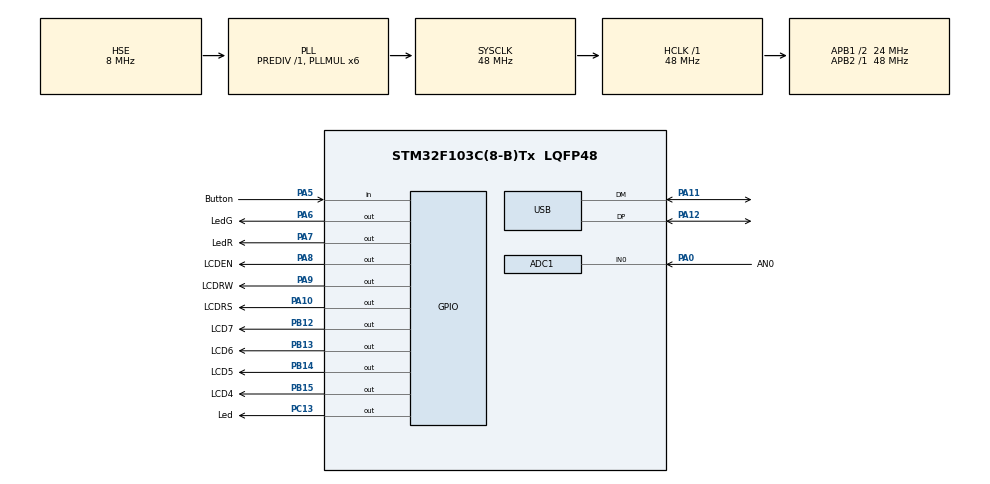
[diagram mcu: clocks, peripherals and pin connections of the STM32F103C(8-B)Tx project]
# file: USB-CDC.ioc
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ADC1.Channel-0\#ChannelRegularConversion=ADC_CHANNEL_0
ADC1.NbrOfConversionFlag=1
ADC1.Rank-0\#ChannelRegularConversion=1
ADC1.SamplingTime-0\#ChannelRegularConversion=ADC_SAMPLETIME_1CYCLE_5
ADC1.master=1
Mcu.Family=STM32F1
Mcu.Name=STM32F103C(8-B)Tx
Mcu.Package=LQFP48
NVIC.PriorityGroup=NVIC_PRIORITYGROUP_4
NVIC.USB_LP_CAN1_RX0_IRQn=true\:0\:0\:false\:false\:true\:true\:true\:true
PA0-WKUP.GPIO_Label=AN0
PA0-WKUP.Signal=ADCx_IN0
PA10.GPIO_Label=LCDRS
PA10.Signal=GPIO_Output
PA11.Mode=Device
PA11.Signal=USB_DM
PA12.Mode=Device
PA12.Signal=USB_DP
PA13.Mode=Serial_Wire
PA13.Signal=SYS_JTMS-SWDIO
PA14.Mode=Serial_Wire
PA14.Signal=SYS_JTCK-SWCLK
PA5.GPIO_Label=Button
PA5.GPIO_PuPd=GPIO_PULLUP
PA5.Signal=GPIO_Input
PA6.GPIO_Label=LedG
PA6.Signal=GPIO_Output
PA7.GPIO_Label=LedR
PA7.Signal=GPIO_Output
PA8.GPIO_Label=LCDEN
PA8.Signal=GPIO_Output
PA9.GPIO_Label=LCDRW
PA9.Signal=GPIO_Output
PB12.GPIO_Label=LCD7
PB12.Signal=GPIO_Output
PB13.GPIO_Label=LCD6
PB13.Signal=GPIO_Output
PB14.GPIO_Label=LCD5
PB14.Signal=GPIO_Output
PB15.GPIO_Label=LCD4
PB15.Signal=GPIO_Output
PC13-TAMPER-RTC.GPIO_Label=Led
PC13-TAMPER-RTC.Signal=GPIO_Output
PD0-OSC_IN.Mode=HSE-External-Oscillator
PD0-OSC_IN.Signal=RCC_OSC_IN
PD1-OSC_OUT.Mode=HSE-External-Oscillator
PD1-OSC_OUT.Signal=RCC_OSC_OUT
ProjectManager.HeapSize=0x1000
ProjectManager.StackSize=0x400
ProjectManager.TargetToolchain=STM32CubeIDE
RCC.ADCPresc=RCC_ADCPCLK2_DIV4
RCC.AHBFreq_Value=48000000
RCC.APB1CLKDivider=RCC_HCLK_DIV2
RCC.APB1Freq_Value=24000000
RCC.APB1TimFreq_Value=48000000
RCC.APB2Freq_Value=48000000
RCC.APB2TimFreq_Value=48000000
RCC.HCLKFreq_Value=48000000
RCC.PLLMUL=RCC_PLL_MUL6
RCC.SYSCLKFreq_VALUE=48000000
RCC.SYSCLKSource=RCC_SYSCLKSOURCE_PLLCLK
RCC.USBFreq_Value=48000000
SH.ADCx_IN0.0=ADC1_IN0,IN0
USB_DEVICE.CLASS_NAME_FS=CDC
USB_DEVICE.VirtualMode=Cdc
USB_DEVICE.VirtualModeFS=Cdc_FS
VP_USB_DEVICE_VS_USB_DEVICE_CDC_FS.Mode=CDC_FS
board=custom

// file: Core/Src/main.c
/* USER CODE BEGIN Header */
/**
  ******************************************************************************
  * @file           : main.c
  * @brief          : Main program body
  ******************************************************************************
  * @attention
  *
  * Copyright (c) 2026 STMicroelectronics.
  * All rights reserved.
  *
  * This software is licensed under terms that can be found in the LICENSE file
  * in the root directory of this software component.
  * If no LICENSE file comes with this software, it is provided AS-IS.
  *
  ******************************************************************************
  */
/* USER CODE END Header */
#include "main.h"
#include "usb_device.h"

/* USER CODE BEGIN Includes */
#include "stdio.h"
#include "LCD2x20.h"
#include <string.h>
/* USER CODE END Includes */

ADC_HandleTypeDef hadc1;

/* USER CODE BEGIN PV */
int nSysTicks = 0;
int nCycles = 0;
Event IntLed = {0, 0};
int nRedLed = 0;
int nGreenLed = 0;
char bOldButton = 1;
/* USER CODE END PV */

void SystemClock_Config(void);
static void MX_GPIO_Init(void);
static void MX_ADC1_Init(void);

int main(void)
{

  /* USER CODE BEGIN 1 */
	ADC_ChannelConfTypeDef sADC = {0};
	char sLCDstring[20];
  /* USER CODE END 1 */

  /* MCU Configuration--------------------------------------------------------*/

  /* Reset of all peripherals, Initializes the Flash interface and the Systick. */
  HAL_Init();

  /* Configure the system clock */
  SystemClock_Config();

  /* Initialize all configured peripherals */
  MX_GPIO_Init();
  MX_ADC1_Init();
  MX_USB_DEVICE_Init();
  /* USER CODE BEGIN 2 */
  LCDinit4();
  HAL_Delay(50);
  LCDstring4(1, "First String");
  LCDstring4(2, "Second String");
  /* USER CODE END 2 */

  /* Infinite loop */
  /* USER CODE BEGIN WHILE */
  while (1)
  {
	  int nADC = 2;
	  HAL_ADC_Start(&hadc1);		HAL_Delay(10);
	  nADC = HAL_ADC_GetValue(&hadc1);
//	  sprintf(sLCDstring, "Cycles=%d ", nCycles);
//	  CDC_Transmit_FS(sLCDstring, strlen((char*)sLCDstring));
	  sprintf(sLCDstring, "Cycles=%d ADC=%d", nCycles++, nADC);
	  LCDstring4(1, sLCDstring);
	  HAL_GPIO_TogglePin(Led_GPIO_Port, Led_Pin);
	  HAL_Delay(100);
	  // Если порт открыт, но прием "залип", принудительно разрешаем прием packets
    /* USER CODE END WHILE */

  }
}

void SystemClock_Config(void)
{
  RCC_OscInitTypeDef RCC_OscInitStruct = {0};
  RCC_ClkInitTypeDef RCC_ClkInitStruct = {0};
  RCC_PeriphCLKInitTypeDef PeriphClkInit = {0};

  /** Initializes the RCC Oscillators according to the specified parameters
  * in the RCC_OscInitTypeDef structure.
  */
  RCC_OscInitStruct.OscillatorType = RCC_OSCILLATORTYPE_HSE;
  RCC_OscInitStruct.HSEState = RCC_HSE_ON;
  RCC_OscInitStruct.HSEPredivValue = RCC_HSE_PREDIV_DIV1;
  RCC_OscInitStruct.HSIState = RCC_HSI_ON;
  RCC_OscInitStruct.PLL.PLLState = RCC_PLL_ON;
  RCC_OscInitStruct.PLL.PLLSource = RCC_PLLSOURCE_HSE;
  RCC_OscInitStruct.PLL.PLLMUL = RCC_PLL_MUL6;
  if (HAL_RCC_OscConfig(&RCC_OscInitStruct) != HAL_OK)
  {
    Error_Handler();
  }

  /** Initializes the CPU, AHB and APB buses clocks
  */
  RCC_ClkInitStruct.ClockType = RCC_CLOCKTYPE_HCLK|RCC_CLOCKTYPE_SYSCLK
                              |RCC_CLOCKTYPE_PCLK1|RCC_CLOCKTYPE_PCLK2;
  RCC_ClkInitStruct.SYSCLKSource = RCC_SYSCLKSOURCE_PLLCLK;
  RCC_ClkInitStruct.AHBCLKDivider = RCC_SYSCLK_DIV1;
  RCC_ClkInitStruct.APB1CLKDivider = RCC_HCLK_DIV2;
  RCC_ClkInitStruct.APB2CLKDivider = RCC_HCLK_DIV1;

  if (HAL_RCC_ClockConfig(&RCC_ClkInitStruct, FLASH_LATENCY_1) != HAL_OK)
  {
    Error_Handler();
  }
  PeriphClkInit.PeriphClockSelection = RCC_PERIPHCLK_ADC|RCC_PERIPHCLK_USB;
  PeriphClkInit.AdcClockSelection = RCC_ADCPCLK2_DIV4;
  PeriphClkInit.UsbClockSelection = RCC_USBCLKSOURCE_PLL;
  if (HAL_RCCEx_PeriphCLKConfig(&PeriphClkInit) != HAL_OK)
  {
    Error_Handler();
  }
}

static void MX_ADC1_Init(void)
{

  ADC_ChannelConfTypeDef sConfig = {0};

  /** Common config
  */
  hadc1.Instance = ADC1;
  hadc1.Init.ScanConvMode = ADC_SCAN_DISABLE;
  hadc1.Init.ContinuousConvMode = DISABLE;
  hadc1.Init.DiscontinuousConvMode = DISABLE;
  hadc1.Init.ExternalTrigConv = ADC_SOFTWARE_START;
  hadc1.Init.DataAlign = ADC_DATAALIGN_RIGHT;
  hadc1.Init.NbrOfConversion = 1;
  if (HAL_ADC_Init(&hadc1) != HAL_OK)
  {
    Error_Handler();
  }

  /** Configure Regular Channel
  */
  sConfig.Channel = ADC_CHANNEL_0;
  sConfig.Rank = ADC_REGULAR_RANK_1;
  sConfig.SamplingTime = ADC_SAMPLETIME_1CYCLE_5;
  if (HAL_ADC_ConfigChannel(&hadc1, &sConfig) != HAL_OK)
  {
    Error_Handler();
  }

}

static void MX_GPIO_Init(void)
{
  GPIO_InitTypeDef GPIO_InitStruct = {0};

  /* GPIO Ports Clock Enable */
  __HAL_RCC_GPIOC_CLK_ENABLE();
  __HAL_RCC_GPIOD_CLK_ENABLE();
  __HAL_RCC_GPIOA_CLK_ENABLE();
  __HAL_RCC_GPIOB_CLK_ENABLE();

  /*Configure GPIO pin Output Level */
  HAL_GPIO_WritePin(Led_GPIO_Port, Led_Pin, GPIO_PIN_RESET);

  /*Configure GPIO pin Output Level */
  HAL_GPIO_WritePin(GPIOA, LedG_Pin|LedR_Pin|LCDEN_Pin|LCDRW_Pin
                          |LCDRS_Pin, GPIO_PIN_RESET);

  /*Configure GPIO pin Output Level */
  HAL_GPIO_WritePin(GPIOB, LCD7_Pin|LCD6_Pin|LCD5_Pin|LCD4_Pin, GPIO_PIN_RESET);

  /*Configure GPIO pin : Led_Pin */
  GPIO_InitStruct.Pin = Led_Pin;
  GPIO_InitStruct.Mode = GPIO_MODE_OUTPUT_PP;
  GPIO_InitStruct.Pull = GPIO_NOPULL;
  GPIO_InitStruct.Speed = GPIO_SPEED_FREQ_LOW;
  HAL_GPIO_Init(Led_GPIO_Port, &GPIO_InitStruct);

  /*Configure GPIO pin : Button_Pin */
  GPIO_InitStruct.Pin = Button_Pin;
  GPIO_InitStruct.Mode = GPIO_MODE_INPUT;
  GPIO_InitStruct.Pull = GPIO_PULLUP;
  HAL_GPIO_Init(Button_GPIO_Port, &GPIO_InitStruct);

  /*Configure GPIO pins : LedG_Pin LedR_Pin LCDEN_Pin LCDRW_Pin
                           LCDRS_Pin */
  GPIO_InitStruct.Pin = LedG_Pin|LedR_Pin|LCDEN_Pin|LCDRW_Pin
                          |LCDRS_Pin;
  GPIO_InitStruct.Mode = GPIO_MODE_OUTPUT_PP;
  GPIO_InitStruct.Pull = GPIO_NOPULL;
  GPIO_InitStruct.Speed = GPIO_SPEED_FREQ_LOW;
  HAL_GPIO_Init(GPIOA, &GPIO_InitStruct);

  /*Configure GPIO pins : LCD7_Pin LCD6_Pin LCD5_Pin LCD4_Pin */
  GPIO_InitStruct.Pin = LCD7_Pin|LCD6_Pin|LCD5_Pin|LCD4_Pin;
  GPIO_InitStruct.Mode = GPIO_MODE_OUTPUT_PP;
  GPIO_InitStruct.Pull = GPIO_NOPULL;
  GPIO_InitStruct.Speed = GPIO_SPEED_FREQ_LOW;
  HAL_GPIO_Init(GPIOB, &GPIO_InitStruct);

}

void Error_Handler(void)
{
  __disable_irq();
  while (1)
  {
  }
}
